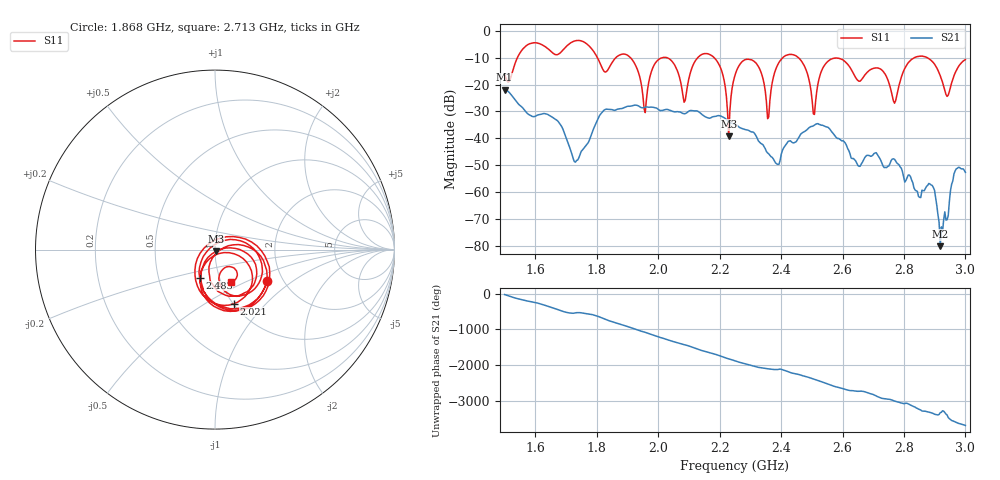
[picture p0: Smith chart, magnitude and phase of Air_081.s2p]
# HZ S RI R 50
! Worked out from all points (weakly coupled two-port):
!   404 points, 1.5 GHz to 3 GHz, reference 50 ohm
!   highest |S21| = -21.92 dB at 1.5 GHz (marker M1); lowest = -80.1 dB at 2.918 GHz (marker M2)
!   lowest |S11| = -39.2 dB at 2.23 GHz (marker M3), VSWR 1.02, Z = 50.6 - j0.924 ohm
!   |S11| at or under -10 dB: 2.182 GHz to 2.406 GHz (224 MHz wide, 9.76 % of centre); 2.456 GHz to 2.834 GHz (378.2 MHz wide, 14.3 % of centre); 2.875 GHz to end of sweep (the widest 3 of 7)
!   S12 and S22 are empty: the file has one direction only
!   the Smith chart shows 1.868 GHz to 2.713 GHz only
!   S11 on the Smith chart (normalised r, x): 1.868 GHz: 1.65, -0.65; 2.021 GHz: 1.01, -0.68; 2.483 GHz: 0.80, -0.26; 2.713 GHz: 1.11, -0.42
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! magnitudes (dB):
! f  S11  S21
! 1.5 GHz  -16.2  -21.9
! 1.753 GHz  -3.9  -44.4
! 1.868 GHz  -9.4  -29.1
! 1.958 GHz  -30.4  -28.4
! 2.002 GHz  -10.6  -29.4
! 2.021 GHz  -9.9  -29.4
! 2.084 GHz  -26.6  -30.9
! 2.177 GHz  -9.5  -32.0
! 2.23 GHz  -39.2  -33.8
! 2.252 GHz  -15.9  -34.9
! 2.315 GHz  -11.7  -38.5
! 2.356 GHz  -32.7  -45.4
! 2.386 GHz  -13.4  -49.5
! 2.483 GHz  -15.0  -37.0
! 2.501 GHz  -26.1  -35.5
! 2.561 GHz  -10.7  -36.9
! 2.713 GHz  -13.8  -46.0
! 2.751 GHz  -19.3  -50.3
! 2.892 GHz  -11.4  -57.5
! 2.918 GHz  -16.7  -80.1
! 2.97 GHz  -14.8  -51.3
! 3 GHz  -10.7  -52.7
